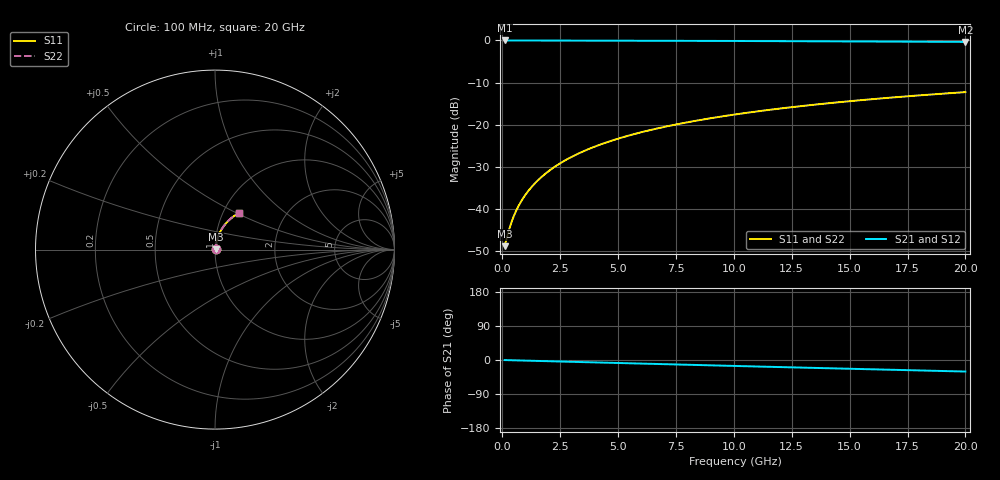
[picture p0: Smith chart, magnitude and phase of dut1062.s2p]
! Touchstone file exported from HFSS 2026.1.0
!  File:  C:/ffzhzh/LocalFiles/Ansys_Project_Files/temp_train_BSMRDL_1062_1783174113_22436.aedt
!  Generated:  10:09:44 PM Jul  4, 2026
!  Design:  BSMRDL
!  Project:  temp_train_BSMRDL_1062_1783174113_22436
! Variables:
!  h_bsmrdl = 3.52um
!  h_ox = 20um
!  h_rdl = 5um
!  h_sub = 80um
!  h_tmrdl = 5um
!  h_tsv = 80um
!  h_via = 3um
!  l_bsmrdl = 472.28um
!  l_sub = 872.28um
!  l_tmrdl = 200um
!  m_sub = 200um
!  pitch = 29.05um
!  r_tsv = 6um
!  s_tmrdl = 10um
!  w_bsmrdl = 15.23um
!  w_sub = 500um
!  w_tmrdl = 12um
!  x_tsv_center1 = 206um
!  x_tsv_center2 = 693.51um
!  x_tsv_center3 = 905.51um
!  x_tsv_center4 = 1393.02um
!  x_tsv_center5 = 1605.02um
!  x_tsv_center6 = 2092.53um
# GHz S MA R 50.000000
! Terminal data exported
! Port[1] = BSM_RDL1_1_T1
! Port[2] = BSM_RDL1_1_T2
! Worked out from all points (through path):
!   200 points, 100 MHz to 20 GHz, reference 50 ohm
!   highest |S21| = -0.03 dB at 100 MHz (marker M1); lowest = -0.4 dB at 20 GHz (marker M2)
!   group delay of S21, straight-line fit = 4.23 ps
!   lowest |S11| = -48.8 dB at 100 MHz (marker M3), VSWR 1.01, Z = 50.3 + j0.158 ohm
!   |S11| at or under -10 dB: start of sweep to end of sweep
!   |S22| runs from -48.8 to -12.3 dB; largest |S21 - S12| = 3.1e-15
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0.1  0.003626 25.6  0.9967 -0.2  0.9967 -0.2  0.003626 25.6
! Gamma 0 0 0 0
! Port Impedance 50 0 50 0
0.3  0.005765 52.1  0.9965 -0.5  0.9965 -0.5  0.005765 52.1
0.4  0.007012 58.1  0.9963 -0.7  0.9963 -0.7  0.007012 58.1
0.5  0.008279 62.3  0.9962 -0.8  0.9962 -0.8  0.008279 62.3
0.6  0.009556 65.3  0.9961 -1.0  0.9961 -1.0  0.009556 65.3
0.7  0.01084 67.7  0.996 -1.1  0.996 -1.1  0.01084 67.7
0.9  0.01344 71.1  0.9959 -1.5  0.9959 -1.5  0.01344 71.1
1.2  0.01739 74.2  0.9957 -1.9  0.9957 -1.9  0.01739 74.2
1.4  0.02005 75.6  0.9956 -2.3  0.9956 -2.3  0.02005 75.6
1.7  0.02407 76.9  0.9954 -2.7  0.9954 -2.7  0.02407 76.9
2.2  0.03081 78.1  0.995 -3.5  0.995 -3.5  0.03081 78.1
2.8  0.03891 78.5  0.9945 -4.5  0.9945 -4.5  0.03891 78.5
3.5  0.04832 78.4  0.9938 -5.6  0.9938 -5.6  0.04832 78.4
4.2  0.05767 77.9  0.993 -6.7  0.993 -6.7  0.05767 77.9
5  0.06825 77.1  0.9919 -8.0  0.9919 -8.0  0.06825 77.2
5.9  0.08002 76.1  0.9905 -9.4  0.9905 -9.4  0.08001 76.1
6.8  0.09162 74.9  0.9889 -10.8  0.9889 -10.8  0.09162 75.0
8.3  0.1106 72.9  0.9861 -13.1  0.9861 -13.1  0.1106 72.9
10.1  0.1327 70.4  0.9825 -15.8  0.9825 -15.8  0.1327 70.4
13.4  0.1717 65.8  0.975 -20.8  0.975 -20.8  0.1717 65.8
16.7  0.2086 61.2  0.9667 -25.7  0.9667 -25.7  0.2086 61.2
20  0.2432 56.7  0.9578 -30.5  0.9578 -30.5  0.2432 56.7
